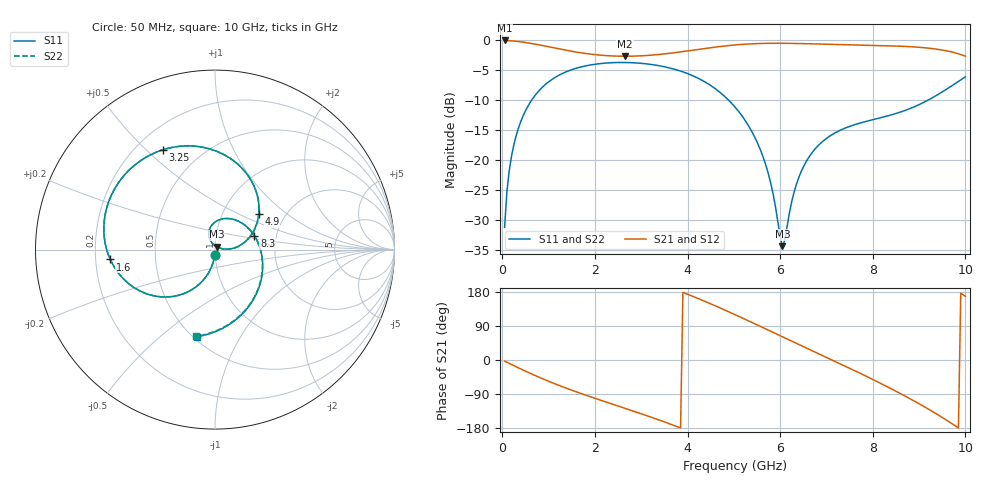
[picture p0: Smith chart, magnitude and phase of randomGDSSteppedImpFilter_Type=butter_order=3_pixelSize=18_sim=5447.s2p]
! freq	dB(S11)	phase(S11)	dB(S12)	phase(S12)
!  dB(S21)	phase(S21)	dB(S22)	phase(S22)
!S-par simulation data
#  GHz  S  DB  R 50
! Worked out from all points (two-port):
!   200 points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, 50 MHz to 10 GHz, reference 50 ohm
!   highest |S21| = -0.01 dB at 50 MHz (marker M1); lowest = -2.6 dB at 2.65 GHz (marker M2)
!   |S21| within 3 dB of the highest: start of sweep to end of sweep
!   lowest |S11| = -34.4 dB at 6.05 GHz (marker M3), VSWR 1.04, Z = 51 + j1.65 ohm
!   |S11| at or under -10 dB: start of sweep to 632.8 MHz; 4.89 GHz to 9.189 GHz (4.299 GHz wide, 61.1 % of centre)
!   |S22| runs from -34.7 to -3.7 dB; largest |S21 - S12| = 0
!   S11 on the Smith chart (normalised r, x): 50 MHz: 1.00, -0.05; 1.6 GHz: 0.26, -0.04; 3.25 GHz: 0.31, +0.57; 4.9 GHz: 1.48, +0.65; 8.3 GHz: 1.54, +0.25; 10 GHz: 0.52, -0.67
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0.05  -31.22 -93.1  -0.01 -3.0  -0.01 -3.0  -31.22 -93.1
0.2  -19.30 -102.5  -0.07 -12.0  -0.07 -12.0  -19.30 -102.5
0.45  -12.60 -117.2  -0.29 -26.6  -0.29 -26.6  -12.60 -117.2
1  -6.92 -146.6  -1.06 -56.1  -1.06 -56.1  -6.92 -146.6
1.6  -4.64 -174.6  -1.95 -84.1  -1.95 -84.1  -4.64 -174.6
1.75  -4.34 178.9  -2.13 -90.5  -2.13 -90.5  -4.34 178.9
2.65  -3.69 142.1  -2.64 -127.5  -2.64 -127.5  -3.69 142.1
3.25  -4.05 117.4  -2.44 -152.4  -2.44 -152.4  -4.06 117.3
3.4  -4.25 111.0  -2.33 -158.9  -2.33 -158.9  -4.25 110.9
4.2  -6.21 74.3  -1.54 163.7  -1.54 163.7  -6.21 74.2
4.9  -10.08 39.0  -0.85 126.7  -0.85 126.7  -10.08 38.8
5.05  -11.36 31.3  -0.74 118.4  -0.74 118.4  -11.36 31.1
5.65  -19.88 4.4  -0.49 84.3  -0.49 84.3  -19.90 3.8
6.05  -34.38 57.9  -0.48 61.3  -0.48 61.3  -34.74 57.6
6.35  -24.07 116.6  -0.51 44.2  -0.51 44.2  -24.10 117.0
6.7  -18.65 105.3  -0.57 24.3  -0.57 24.3  -18.66 105.3
7.45  -14.51 67.0  -0.72 -18.8  -0.72 -18.8  -14.51 66.7
8.3  -12.66 19.2  -0.88 -69.7  -0.88 -69.7  -12.66 18.5
8.35  -12.55 16.3  -0.89 -72.9  -0.89 -72.9  -12.56 15.5
9.1  -10.36 -31.2  -1.21 -122.4  -1.21 -122.4  -10.37 -32.1
9.6  -8.11 -68.3  -1.75 -159.3  -1.75 -159.3  -8.12 -69.1
10  -6.09 -101.9  -2.63 168.2  -2.63 168.2  -6.10 -102.6
